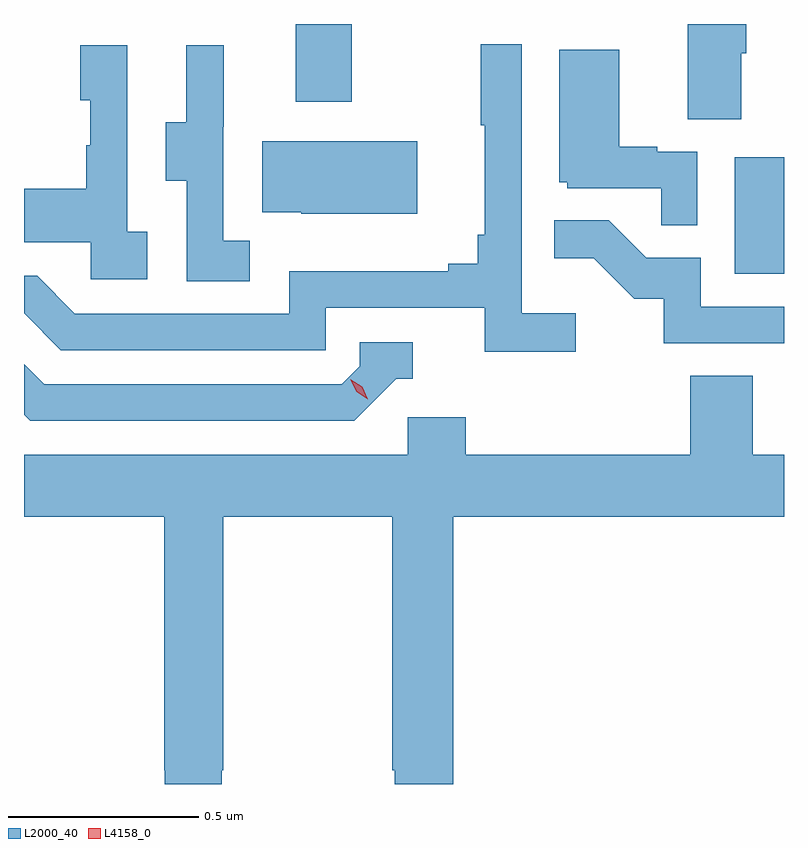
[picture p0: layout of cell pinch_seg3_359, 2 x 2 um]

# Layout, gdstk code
import gdstk
lib = gdstk.Library(unit=1e-6, precision=1e-09)
def R(c, l, rs):  # rectangles x0, y0, x1, y1
    for r in rs: c.add(gdstk.rectangle(r[:2], r[2:], *l))
def P(c, l, *ps):  # polygons
    for p in ps: c.add(gdstk.Polygon(p, *l))
L2000_40 = (2000, 40)
L4158_0 = (4158, 0)

pinch_seg3_359 = lib.new_cell('pinch_seg3_359')
R(pinch_seg3_359, L2000_40, [(962.564,696.228,962.694,696.535), (961.409,696.681,961.557,696.885)])
P(pinch_seg3_359, L2000_40, [(962.581,696.808),(962.594,696.808),(962.594,696.885),(962.441,696.885),(962.441,696.634),(962.581,696.634)],
  [(962.146,696.124),(962.004,696.124),(962.004,696.832),(961.896,696.832),(961.896,696.619),(961.907,696.619),(961.907,696.331),(961.888,696.331),(961.888,696.254),(961.811,696.254),(961.811,696.235),(961.392,696.235),(961.392,696.123),(960.828,696.123),(960.729,696.222),(960.694,696.222),(960.694,696.124),(960.791,696.027),(961.488,696.027),(961.488,696.138),(961.907,696.138),(961.907,696.022),(962.146,696.022)],
  [(961.018,696.338),(960.966,696.338),(960.966,696.829),(960.842,696.829),(960.842,696.684),(960.868,696.684),(960.868,696.566),(960.858,696.566),(960.858,696.451),(960.694,696.451),(960.694,696.311),(960.87,696.311),(960.87,696.213),(961.018,696.213)],
  [(961.288,696.315),(961.218,696.315),(961.218,696.615),(961.22,696.615),(961.22,696.829),(961.121,696.829),(961.121,696.627),(961.067,696.627),(961.067,696.472),(961.122,696.472),(961.122,696.208),(961.288,696.208)],
  [(962.466,696.549),(962.36,696.549),(962.36,696.562),(962.26,696.562),(962.26,696.817),(962.102,696.817),(962.102,696.468),(962.124,696.468),(962.124,696.453),(962.371,696.453),(962.371,696.355),(962.466,696.355)],
  [(961.729,696.577),(961.321,696.577),(961.321,696.389),(961.423,696.389),(961.423,696.386),(961.729,696.386)],
  [(962.694,696.141),(962.475,696.141),(962.475,696.27),(962.331,696.27),(962.233,696.368),(962.089,696.368),(962.089,696.269),(962.193,696.269),(962.3,696.162),(962.377,696.162),(962.377,696.045),(962.694,696.045)],
  [(961.674,695.952),(961.717,695.952),(961.717,696.048),(961.578,696.048),(961.578,695.985),(961.53,695.937),(960.747,695.937),(960.694,695.99),(960.694,695.857),(960.71,695.841),(961.563,695.841)],
  [(961.215,694.921),(961.218,694.921),(961.218,695.588),(961.663,695.588),(961.663,694.921),(961.669,694.921),(961.669,694.885),(961.823,694.885),(961.823,695.588),(962.694,695.588),(962.694,695.752),(962.612,695.752),(962.612,695.96),(962.447,695.96),(962.447,695.752),(961.856,695.752),(961.856,695.85),(961.704,695.85),(961.704,695.752),(960.694,695.752),(960.694,695.588),(961.063,695.588),(961.063,694.921),(961.065,694.921),(961.065,694.885),(961.215,694.885)])
P(pinch_seg3_359, L4158_0, [(961.599,695.897),(961.569,695.917),(961.553,695.95),(961.553,695.95),(961.553,695.95),(961.584,695.93),(961.599,695.898),(961.599,695.897)])

lib.write_gds('pinch_seg3_359.gds')
